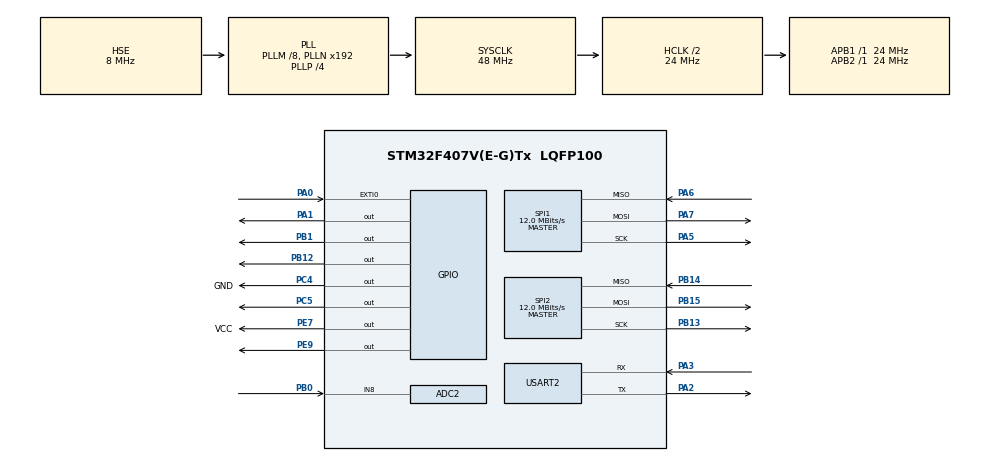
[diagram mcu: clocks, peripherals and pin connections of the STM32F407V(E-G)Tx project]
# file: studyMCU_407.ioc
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ADC1.Channel-0\#ChannelRegularConversion=ADC_CHANNEL_TEMPSENSOR
ADC1.NbrOfConversionFlag=1
ADC1.Rank-0\#ChannelRegularConversion=1
ADC1.SamplingTime-0\#ChannelRegularConversion=ADC_SAMPLETIME_3CYCLES
ADC1.master=1
ADC2.Channel-0\#ChannelRegularConversion=ADC_CHANNEL_8
ADC2.NbrOfConversionFlag=1
ADC2.Rank-0\#ChannelRegularConversion=1
ADC2.SamplingTime-0\#ChannelRegularConversion=ADC_SAMPLETIME_3CYCLES
Mcu.Family=STM32F4
Mcu.Name=STM32F407V(E-G)Tx
Mcu.Package=LQFP100
NVIC.EXTI0_IRQn=true\:0\:0\:false\:false\:true\:true\:true
NVIC.PriorityGroup=NVIC_PRIORITYGROUP_4
NVIC.TIM2_IRQn=true\:0\:0\:false\:false\:true\:true\:true
NVIC.TIM3_IRQn=true\:0\:0\:false\:false\:true\:true\:true
NVIC.TIM4_IRQn=true\:0\:0\:false\:false\:true\:true\:true
NVIC.USART2_IRQn=true\:0\:0\:false\:false\:true\:true\:true
PA0-WKUP.GPIO_PuPd=GPIO_PULLDOWN
PA0-WKUP.Signal=GPXTI0
PA1.Signal=GPIO_Output
PA13.Mode=Serial_Wire
PA13.Signal=SYS_JTMS-SWDIO
PA14.Mode=Serial_Wire
PA14.Signal=SYS_JTCK-SWCLK
PA2.Mode=Asynchronous
PA2.Signal=USART2_TX
PA3.Mode=Asynchronous
PA3.Signal=USART2_RX
PA5.Mode=Full_Duplex_Master
PA5.Signal=SPI1_SCK
PA6.Mode=Full_Duplex_Master
PA6.Signal=SPI1_MISO
PA7.Mode=Full_Duplex_Master
PA7.Signal=SPI1_MOSI
PB0.Signal=ADCx_IN8
PB1.Signal=GPIO_Output
PB12.Signal=GPIO_Output
PB13.Mode=Full_Duplex_Master
PB13.Signal=SPI2_SCK
PB14.Mode=Full_Duplex_Master
PB14.Signal=SPI2_MISO
PB15.Mode=Full_Duplex_Master
PB15.Signal=SPI2_MOSI
PC4.GPIO_Label=GND
PC4.Signal=GPIO_Output
PC5.Signal=GPIO_Output
PD8.Signal=USART3_TX
PD9.Signal=USART3_RX
PE7.GPIO_Label=VCC
PE7.Signal=GPIO_Output
PE9.Signal=GPIO_Output
PH0-OSC_IN.Mode=HSE-External-Oscillator
PH0-OSC_IN.Signal=RCC_OSC_IN
PH1-OSC_OUT.Mode=HSE-External-Oscillator
PH1-OSC_OUT.Signal=RCC_OSC_OUT
ProjectManager.HeapSize=0x200
ProjectManager.StackSize=0x400
ProjectManager.TargetToolchain=Makefile
RCC.48MHZClocksFreq_Value=48000000
RCC.AHBCLKDivider=RCC_SYSCLK_DIV2
RCC.AHBFreq_Value=24000000
RCC.APB1Freq_Value=24000000
RCC.APB1TimFreq_Value=24000000
RCC.APB2Freq_Value=24000000
RCC.APB2TimFreq_Value=24000000
RCC.CortexFreq_Value=24000000
RCC.HCLKFreq_Value=24000000
RCC.HSE_VALUE=8000000
RCC.HSI_VALUE=16000000
RCC.LSE_VALUE=32768
RCC.PLLM=8
RCC.PLLP=RCC_PLLP_DIV4
RCC.PLLSourceVirtual=RCC_PLLSOURCE_HSE
RCC.SYSCLKFreq_VALUE=48000000
RCC.SYSCLKSource=RCC_SYSCLKSOURCE_PLLCLK
RCC.VCOOutputFreq_Value=192000000
SH.ADCx_IN8.0=ADC2_IN8,IN8
SPI1.BaudRatePrescaler=SPI_BAUDRATEPRESCALER_2
SPI1.CalculateBaudRate=12.0 MBits/s
SPI1.Direction=SPI_DIRECTION_2LINES
SPI1.Mode=SPI_MODE_MASTER
SPI1.VirtualType=VM_MASTER
SPI2.BaudRatePrescaler=SPI_BAUDRATEPRESCALER_2
SPI2.CalculateBaudRate=12.0 MBits/s
SPI2.Direction=SPI_DIRECTION_2LINES
SPI2.Mode=SPI_MODE_MASTER
SPI2.VirtualType=VM_MASTER
TIM2.Period=4999
TIM2.Prescaler=2399
TIM3.Period=9999
TIM3.Prescaler=2399
TIM4.Period=49
TIM4.Prescaler=23
USART2.VirtualMode=VM_ASYNC
VP_ADC1_TempSens_Input.Mode=IN-TempSens
VP_TIM2_VS_ClockSourceINT.Mode=Internal
VP_TIM3_VS_ClockSourceINT.Mode=Internal
VP_TIM4_VS_ClockSourceINT.Mode=Internal
board=custom

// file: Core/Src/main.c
/* USER CODE BEGIN Header */
/**
  ******************************************************************************
  * @file           : main.c
  * @brief          : Main program body
  ******************************************************************************
  * @attention
  *
  * <h2><center>&copy; Copyright (c) 2021 STMicroelectronics.
  * All rights reserved.</center></h2>
  *
  * This software component is licensed by ST under BSD 3-Clause license,
  * the "License"; You may not use this file except in compliance with the
  * License. You may obtain a copy of the License at:
  *                        opensource.org/licenses/BSD-3-Clause
  *
  ******************************************************************************
  */
/* USER CODE END Header */
#include "main.h"
#include "adc.h"
#include "spi.h"
#include "tim.h"
#include "usart.h"
#include "gpio.h"

/* USER CODE BEGIN Includes */
#include "mb.h"
#include "mbport.h"
#include "user_mb_app.h"
#include "ReceiveTransmit.h"

#include "st7735.h"
#include "fonts.h"
#include "img.h"

/* USER CODE END Includes */

void SystemClock_Config(void);

int main(void)
{

  /* MCU Configuration--------------------------------------------------------*/

  /* Reset of all peripherals, Initializes the Flash interface and the Systick. */
  HAL_Init();

  /* Configure the system clock */
  SystemClock_Config();

  /* Initialize all configured peripherals */
  MX_GPIO_Init();
  MX_ADC1_Init();
  MX_ADC2_Init();
  MX_SPI1_Init();
  MX_SPI2_Init();
  MX_TIM2_Init();
  MX_TIM3_Init();
  MX_TIM4_Init();
  MX_USART2_UART_Init();
  /* USER CODE BEGIN 2 */
  eMBInit(MB_RTU, 1, &huart2, 115200, &htim4);
	eMBEnable();

  ST7735_Init();
  ST7735_FillScreen(ST7735_BLACK);

  HAL_TIM_Base_Start_IT(&htim2);
  HAL_TIM_Base_Start_IT(&htim3);

  HAL_GPIO_WritePin(GPIOE,VCC_Pin,GPIO_PIN_SET);
  HAL_GPIO_WritePin(GPIOE,GND_Pin,GPIO_PIN_SET);

  /* USER CODE END 2 */

  /* Infinite loop */
  /* USER CODE BEGIN WHILE */
  while (1)
  {
    // ST7735_EmptyRectangle(0, 80, 10, 10, ST7735_WHITE);

    ST7735_Sinus(0,90,25, 64, 128);
    // uint16_t *idBase0 = (uint16_t*)(UID_BASE);
    // uint16_t *idBase1 = (uint16_t*)(UID_BASE + 0x02);
    // uint32_t *idBase2 = (uint32_t*)(UID_BASE + 0x04);
    // uint32_t *idBase3 = (uint32_t*)(UID_BASE + 0x08);

    // char buffer[64] = {0,};
    // sprintf(buffer, "UID %x-%x-%lx-%lx", *idBase0, *idBase1, *idBase2, *idBase3);
    // ST7735_WriteString(0, 100, (char*) buffer, Font_7x10, ST7735_WHITE, ST7735_BLACK);

  // #ifdef ST7735_IS_128X128
	//     // Display test image 128x128
	//     ST7735_DrawImage(0, 100, 20, 20, (uint16_t*)img);
  //     HAL_Delay(15000);
	// #endif // ST7735_SS_128X128

    HAL_Delay(20);
    eMBPoll();
    /* USER CODE END WHILE */

  }
}

void SystemClock_Config(void)
{
  RCC_OscInitTypeDef RCC_OscInitStruct = {0};
  RCC_ClkInitTypeDef RCC_ClkInitStruct = {0};

  /** Configure the main internal regulator output voltage
  */
  __HAL_RCC_PWR_CLK_ENABLE();
  __HAL_PWR_VOLTAGESCALING_CONFIG(PWR_REGULATOR_VOLTAGE_SCALE1);
  /** Initializes the RCC Oscillators according to the specified parameters
  * in the RCC_OscInitTypeDef structure.
  */
  RCC_OscInitStruct.OscillatorType = RCC_OSCILLATORTYPE_HSE;
  RCC_OscInitStruct.HSEState = RCC_HSE_ON;
  RCC_OscInitStruct.PLL.PLLState = RCC_PLL_ON;
  RCC_OscInitStruct.PLL.PLLSource = RCC_PLLSOURCE_HSE;
  RCC_OscInitStruct.PLL.PLLM = 8;
  RCC_OscInitStruct.PLL.PLLN = 192;
  RCC_OscInitStruct.PLL.PLLP = RCC_PLLP_DIV4;
  RCC_OscInitStruct.PLL.PLLQ = 4;
  if (HAL_RCC_OscConfig(&RCC_OscInitStruct) != HAL_OK)
  {
    Error_Handler();
  }
  /** Initializes the CPU, AHB and APB buses clocks
  */
  RCC_ClkInitStruct.ClockType = RCC_CLOCKTYPE_HCLK|RCC_CLOCKTYPE_SYSCLK
                              |RCC_CLOCKTYPE_PCLK1|RCC_CLOCKTYPE_PCLK2;
  RCC_ClkInitStruct.SYSCLKSource = RCC_SYSCLKSOURCE_PLLCLK;
  RCC_ClkInitStruct.AHBCLKDivider = RCC_SYSCLK_DIV2;
  RCC_ClkInitStruct.APB1CLKDivider = RCC_HCLK_DIV1;
  RCC_ClkInitStruct.APB2CLKDivider = RCC_HCLK_DIV1;

  if (HAL_RCC_ClockConfig(&RCC_ClkInitStruct, FLASH_LATENCY_0) != HAL_OK)
  {
    Error_Handler();
  }
}

void Error_Handler(void)
{
  __disable_irq();
  while (1)
  {
  }
}

/************************ (C) COPYRIGHT STMicroelectronics *****END OF FILE****/
